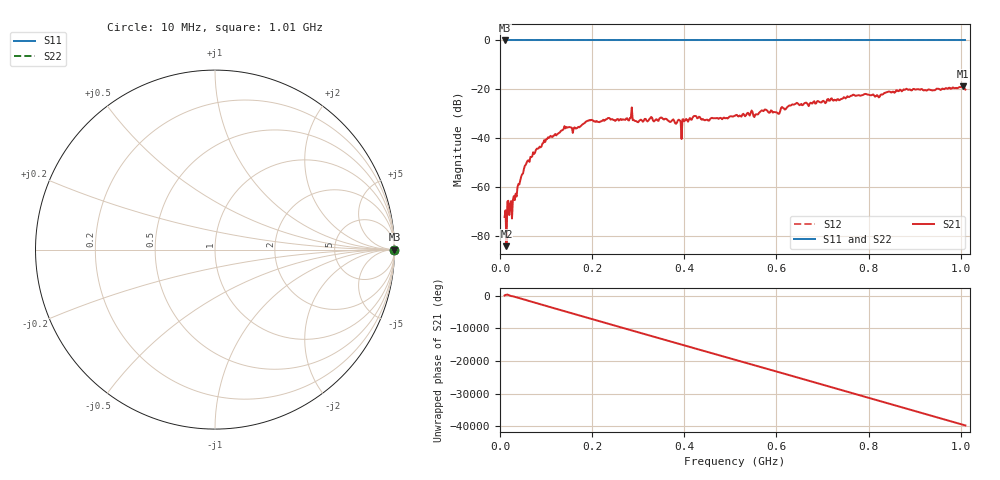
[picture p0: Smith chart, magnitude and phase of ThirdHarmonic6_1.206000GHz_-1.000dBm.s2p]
! 8/16/2025 12:32:00 PM
! C:\ANRITSUVNA\TEMP\TEMP.S2P
! CHANNEL.1
! TR.MEASUREMENT
! RAW.DATA
! RF.CORRECTION.OFF
! AVERAGING.OFF
! IF.BANDWIDTH: 5KHZ
! SWEEPTYPE:  FREQ.SWEEP(Linear)
! Reference Plane Port Info
! PORT:  PORT1  PORT2
! DISTANCE:  0  m  0  m
! TIME:  0  s  0  s
! PHASE.OFFSET:  0  deg.  0  deg.
! LOSS:  0  dB  0  dB
! REF.LOSS:  0  dB  0  dB
! REF.FREQ:  0  Hz  0  Hz
! Power Info
! POWER:  -20  dBm  -20  dBm
! EFF.POWER:  -20  dBm  -20  dBm
! SOURCE.ATTEN:  0  dB  0  dB
! TEST.ATTEN:  0  dB  0  dB
# GHZ S RI R 50.0
! FREQ.GHZ  S11RE  S11IM  S21RE  S21IM  S12RE  S12IM  S22RE  S22IM
!; PortSelection: Port_12
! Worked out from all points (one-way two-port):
!   501 points, 10 MHz to 1.01 GHz, reference 50 ohm
!   highest |S21| = -18.76 dB at 1.004 GHz (marker M1); lowest = -84.3 dB at 14 MHz (marker M2)
!   lowest |S11| = 0.0 dB at 10 MHz (marker M3)
!   |S11| at or under -10 dB: nowhere
!   |S22| runs from 0.0 to 0.0 dB; largest |S21 - S12| = 1.1
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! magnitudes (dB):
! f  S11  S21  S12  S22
! 10 MHz  0.0  -72.3  0.0  0.0
! 14 MHz  0.0  -84.3  0.0  0.0
! 18 MHz  0.0  -65.7  0.0  0.0
! 20 MHz  0.0  -71.5  0.0  0.0
! 24 MHz  0.0  -65.8  0.0  0.0
! 30 MHz  0.0  -63.8  0.0  0.0
! 56 MHz  0.0  -50.9  0.0  0.0
! 76 MHz  0.0  -46.0  0.0  0.0
! 140 MHz  0.0  -35.1  0.0  0.0
! 178 MHz  0.0  -34.5  0.0  0.0
! 282 MHz  0.0  -31.8  0.0  0.0
! 296 MHz  0.0  -33.0  0.0  0.0
! 344 MHz  0.0  -32.9  0.0  0.0
! 396 MHz  0.0  -32.3  0.0  0.0
! 422 MHz  0.0  -30.9  0.0  0.0
! 450 MHz  0.0  -32.5  0.0  0.0
! 510 MHz  0.0  -30.8  0.0  0.0
! 602 MHz  0.0  -29.7  0.0  0.0
! 678 MHz  0.0  -25.8  0.0  0.0
! 844 MHz  0.0  -20.9  0.0  0.0
! 1.004 GHz  0.0  -18.8  0.0  0.0
! 1.01 GHz  0.0  -20.1  0.0  0.0
